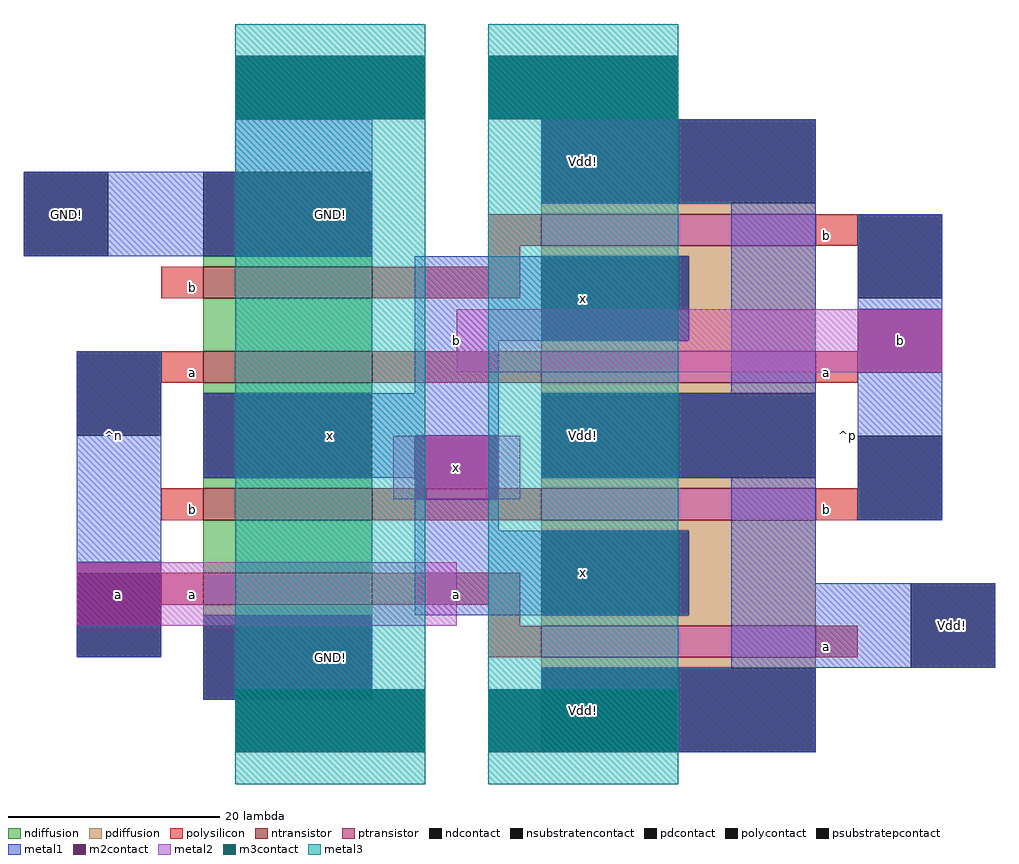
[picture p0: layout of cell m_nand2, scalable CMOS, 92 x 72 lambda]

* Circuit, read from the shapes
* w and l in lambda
.subckt m_nand2 GND! Vdd! a b x
M1 n1 a GND! GND! nfet w=16 l=3
M2 x b n1 GND! nfet w=16 l=3
M3 n2 a x GND! nfet w=16 l=3
M4 GND! b n2 GND! nfet w=16 l=3
M5 x a Vdd! Vdd! pfet w=26 l=3 m=2
M6 Vdd! b x Vdd! pfet w=26 l=3 m=2
.ends

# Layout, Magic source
magic
tech scmos
<< ndiffusion >>
rect -24 515 -8 516
rect -24 507 -8 512
rect -24 503 -8 504
rect -24 494 -8 495
rect -24 486 -8 491
rect -24 482 -8 483
<< pdiffusion >>
rect 8 520 34 521
rect 8 516 34 517
rect 22 508 34 516
rect 8 507 34 508
rect 8 503 34 504
rect 8 494 34 495
rect 8 490 34 491
rect 22 482 34 490
rect 8 481 34 482
rect 8 477 34 478
<< ntransistor >>
rect -24 512 -8 515
rect -24 504 -8 507
rect -24 491 -8 494
rect -24 483 -8 486
<< ptransistor >>
rect 8 517 34 520
rect 8 504 34 507
rect 8 491 34 494
rect 8 478 34 481
<< polysilicon >>
rect 3 517 8 520
rect 34 517 38 520
rect 3 515 6 517
rect -28 512 -24 515
rect -8 512 6 515
rect -28 504 -24 507
rect -8 504 8 507
rect 34 504 38 507
rect -28 491 -24 494
rect -8 491 8 494
rect 34 491 38 494
rect -28 483 -24 486
rect -8 483 6 486
rect 3 481 6 483
rect 3 478 8 481
rect 34 478 38 481
<< ndcontact >>
rect -24 516 -8 524
rect -24 495 -8 503
rect -24 474 -8 482
<< pdcontact >>
rect 8 521 34 529
rect 8 508 22 516
rect 8 495 34 503
rect 8 482 22 490
rect 8 469 34 477
<< psubstratepcontact >>
rect -41 516 -33 524
<< nsubstratencontact >>
rect 43 477 51 485
<< polycontact >>
rect 38 512 46 520
rect -36 499 -28 507
rect 38 491 46 499
rect -36 478 -28 486
<< metal1 >>
rect -21 524 -8 529
rect -41 516 -8 524
rect 8 521 34 529
rect -4 508 22 516
rect -36 487 -28 507
rect -4 503 4 508
rect 26 503 34 521
rect -24 499 4 503
rect -24 495 -4 499
rect 8 495 34 503
rect -4 490 4 493
rect -4 482 22 490
rect 26 485 34 495
rect 38 511 46 520
rect 38 491 46 505
rect -36 478 -28 481
rect -24 475 -8 482
rect 26 477 51 485
rect 8 475 34 477
rect -24 474 -21 475
rect 21 469 34 475
<< m2contact >>
rect -21 529 -3 535
rect 3 529 21 535
rect -36 481 -28 487
rect -4 493 4 499
rect 38 505 46 511
rect -21 469 -3 475
rect 3 469 21 475
<< metal2 >>
rect 0 505 46 511
rect -6 493 6 499
rect -36 481 0 487
<< m3contact >>
rect -21 529 -3 535
rect 3 529 21 535
rect -21 469 -3 475
rect 3 469 21 475
<< metal3 >>
rect -21 466 -3 538
rect 3 466 21 538
<< labels >>
rlabel metal1 12 512 12 512 1 x
rlabel metal1 12 525 12 525 5 Vdd!
rlabel metal1 12 499 12 499 1 Vdd!
rlabel metal1 12 486 12 486 5 x
rlabel m2contact 12 473 12 473 1 Vdd!
rlabel metal1 -12 520 -12 520 5 GND!
rlabel metal1 -12 499 -12 499 5 x
rlabel metal1 -12 478 -12 478 1 GND!
rlabel polysilicon -25 505 -25 505 3 a
rlabel polysilicon -25 513 -25 513 3 b
rlabel polysilicon -25 492 -25 492 3 b
rlabel polysilicon -25 484 -25 484 3 a
rlabel metal2 0 481 0 487 7 a
rlabel polysilicon 35 518 35 518 1 b
rlabel polysilicon 35 505 35 505 1 a
rlabel polysilicon 35 479 35 479 1 a
rlabel polysilicon 35 492 35 492 1 b
rlabel metal2 0 505 0 511 3 b
rlabel metal1 -37 520 -37 520 3 GND!
rlabel space -42 473 -23 525 7 ^n
rlabel metal1 47 481 47 481 7 Vdd!
rlabel space 22 468 52 530 3 ^p
rlabel metal2 0 493 0 499 1 x
rlabel metal2 42 508 42 508 1 b
rlabel metal2 -32 484 -32 484 1 a
<< end >>
